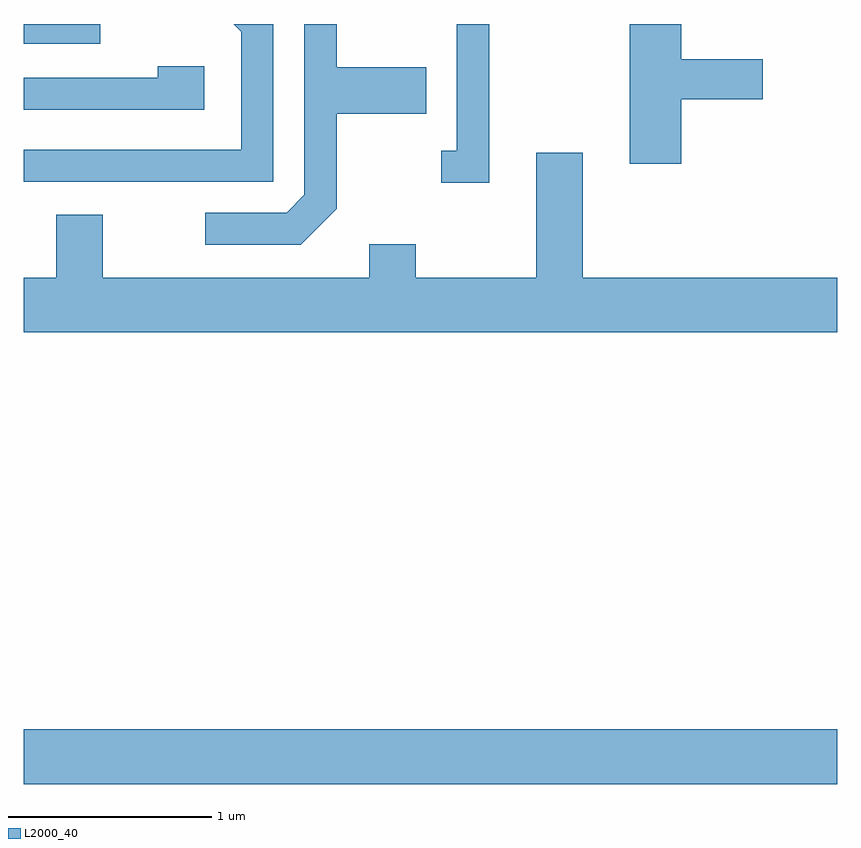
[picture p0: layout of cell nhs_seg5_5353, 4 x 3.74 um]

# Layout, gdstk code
import gdstk
lib = gdstk.Library(unit=1e-6, precision=1e-09)
def R(c, l, rs):  # rectangles x0, y0, x1, y1
    for r in rs: c.add(gdstk.rectangle(r[:2], r[2:], *l))
def P(c, l, *ps):  # polygons
    for p in ps: c.add(gdstk.Polygon(p, *l))
L2000_40 = (2000, 40)

nhs_seg5_5353 = lib.new_cell('nhs_seg5_5353')
R(nhs_seg5_5353, L2000_40, [(343.611,1472.336,347.611,1472.604), (343.611,1475.976,343.988,1476.072)])
P(nhs_seg5_5353, L2000_40, [(344.839,1476.072),(344.643,1476.072),(344.681,1476.034),(344.681,1475.454),(343.611,1475.454),(343.611,1475.296),(344.839,1475.296)],
  [(345.149,1475.164),(345.149,1475.631),(345.589,1475.631),(345.589,1475.859),(345.149,1475.859),(345.149,1476.072),(344.991,1476.072),(344.991,1475.232),(344.904,1475.144),(344.503,1475.144),(344.503,1474.986),(344.972,1474.986)],
  [(346.844,1475.701),(347.244,1475.701),(347.244,1475.899),(346.844,1475.899),(346.844,1476.072),(346.591,1476.072),(346.591,1475.386),(346.844,1475.386)],
  [(345.899,1476.072),(345.741,1476.072),(345.741,1475.449),(345.663,1475.449),(345.663,1475.291),(345.899,1475.291)],
  [(344.499,1475.864),(344.271,1475.864),(344.271,1475.809),(343.611,1475.809),(343.611,1475.651),(344.499,1475.651)],
  [(347.611,1474.824),(346.359,1474.824),(346.359,1475.439),(346.131,1475.439),(346.131,1474.824),(345.539,1474.824),(345.539,1474.989),(345.311,1474.989),(345.311,1474.824),(343.999,1474.824),(343.999,1475.134),(343.771,1475.134),(343.771,1474.824),(343.611,1474.824),(343.611,1474.556),(347.611,1474.556)])

lib.write_gds('nhs_seg5_5353.gds')
